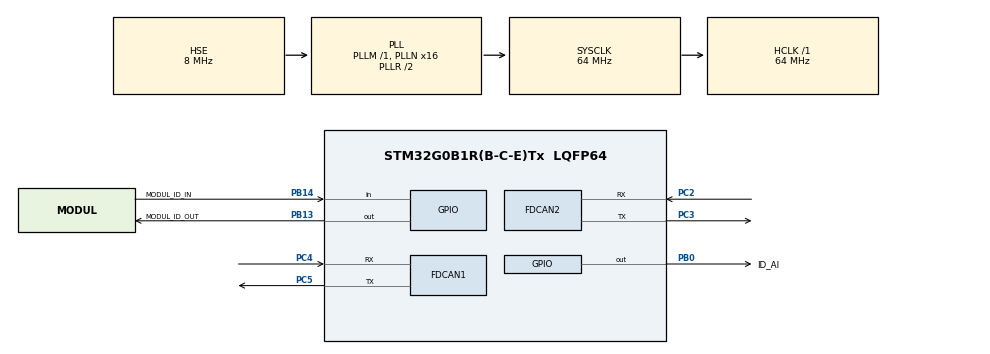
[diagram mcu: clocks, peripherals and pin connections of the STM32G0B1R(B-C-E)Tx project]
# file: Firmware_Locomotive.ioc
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FDCAN1.AutoRetransmission=ENABLE
FDCAN1.CalculateBaudRateNominal=50000
FDCAN1.CalculateTimeBitNominal=20000
FDCAN1.CalculateTimeQuantumNominal=2500.0
FDCAN1.NominalPrescaler=160
FDCAN1.NominalTimeSeg1=5
FDCAN1.NominalTimeSeg2=2
FDCAN2.AutoRetransmission=ENABLE
FDCAN2.CalculateBaudRateNominal=50000
FDCAN2.CalculateTimeBitNominal=20000
FDCAN2.CalculateTimeQuantumNominal=2500.0
FDCAN2.NominalPrescaler=160
FDCAN2.NominalTimeSeg1=5
FDCAN2.NominalTimeSeg2=2
Mcu.Family=STM32G0
Mcu.Name=STM32G0B1R(B-C-E)Tx
Mcu.Package=LQFP64
NVIC.TIM16_FDCAN_IT0_IRQn=true\:0\:0\:false\:false\:true\:true\:true\:true
NVIC.TIM17_FDCAN_IT1_IRQn=true\:0\:0\:false\:false\:true\:true\:true\:true
PA13.Mode=Serial_Wire
PA13.Signal=SYS_SWDIO
PA14-BOOT0.Mode=Serial_Wire
PA14-BOOT0.Signal=SYS_SWCLK
PB0.GPIO_Label=ID_AI
PB0.Signal=GPIO_Output
PB13.GPIO_Label=MODUL_ID_OUT
PB13.Signal=GPIO_Output
PB14.GPIO_Label=MODUL_ID_IN
PB14.Signal=GPIO_Input
PC2.GPIO_Speed=GPIO_SPEED_FREQ_VERY_HIGH
PC2.Mode=FDCAN_Activate
PC2.Signal=FDCAN2_RX
PC3.GPIO_Speed=GPIO_SPEED_FREQ_VERY_HIGH
PC3.Mode=FDCAN_Activate
PC3.Signal=FDCAN2_TX
PC4.GPIO_Speed=GPIO_SPEED_FREQ_VERY_HIGH
PC4.Mode=FDCAN_Activate
PC4.PinState=GPIO_PIN_RESET
PC4.Signal=FDCAN1_RX
PC5.GPIO_Speed=GPIO_SPEED_FREQ_VERY_HIGH
PC5.Mode=FDCAN_Activate
PC5.Signal=FDCAN1_TX
PF0-OSC_IN\ (PF0).Mode=HSE-External-Oscillator
PF0-OSC_IN\ (PF0).Signal=RCC_OSC_IN
PF1-OSC_OUT\ (PF1).Mode=HSE-External-Oscillator
PF1-OSC_OUT\ (PF1).Signal=RCC_OSC_OUT
ProjectManager.HeapSize=0x200
ProjectManager.StackSize=0x400
ProjectManager.TargetToolchain=STM32CubeIDE
RCC.ADCFreq_Value=64000000
RCC.AHBFreq_Value=64000000
RCC.CortexFreq_Value=64000000
RCC.EXTERNAL_CLOCK_VALUE=48000
RCC.HCLKFreq_Value=64000000
RCC.HSE_VALUE=8000000
RCC.HSI48_VALUE=48000000
RCC.HSI_VALUE=16000000
RCC.LSE_VALUE=32768
RCC.PLLN=16
RCC.PLLSourceVirtual=RCC_PLLSOURCE_HSE
RCC.SYSCLKFreq_VALUE=64000000
RCC.SYSCLKSource=RCC_SYSCLKSOURCE_PLLCLK
RCC.USBFreq_Value=48000000
RCC.VCOOutputFreq_Value=128000000
VP_SYS_VS_DBSignals.Mode=DisableDeadBatterySignals
board=custom

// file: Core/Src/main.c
/* USER CODE BEGIN Header */
/**
  ******************************************************************************
  * @file           : main.c
  * @brief          : Main program body
  ******************************************************************************
  * @attention
  *
  * Copyright (c) 2026 STMicroelectronics.
  * All rights reserved.
  *
  * This software is licensed under terms that can be found in the LICENSE file
  * in the root directory of this software component.
  * If no LICENSE file comes with this software, it is provided AS-IS.
  *
  ******************************************************************************
  */
/* USER CODE END Header */
#include "main.h"
#include "fdcan.h"
#include "gpio.h"

/* USER CODE BEGIN Includes */
#include <stdlib.h>
#include <string.h>
#include "hvac_can.h"
/* USER CODE END Includes */

/* USER CODE BEGIN PV */
extern FDCAN_HandleTypeDef hfdcan1;
extern FDCAN_HandleTypeDef hfdcan2;
FDCAN_TxHeaderTypeDef TxHeader;
uint8_t TxData[8];

uint32_t node_ids[3] = {0xFFFFFFFF, 0xFFFFFFFF, 0xFFFFFFFF}; // 0xFFFFFFFF = Lost/Error
uint32_t node_last_seen[3] = {0, 0, 0};
uint32_t loco_tx_count = 0;
uint16_t node_errors[3] = {0, 0, 0};
uint32_t loco_hw_errors = 0;
/* USER CODE END PV */

void SystemClock_Config(void);

/* USER CODE BEGIN 0 */
/* Queues a frame from thread context; the RX interrupt also writes to the TX FIFO. */
static void CAN_SendFromMain(FDCAN_HandleTypeDef *hfdcan, FDCAN_TxHeaderTypeDef *hdr, uint8_t *data)
{
  uint32_t primask = __get_PRIMASK();
  __disable_irq();
  HAL_FDCAN_AddMessageToTxFifoQ(hfdcan, hdr, data);
  __set_PRIMASK(primask);
}
/* USER CODE END 0 */

int main(void)
{

  /* MCU Configuration--------------------------------------------------------*/

  /* Reset of all peripherals, Initializes the Flash interface and the Systick. */
  HAL_Init();

  /* Configure the system clock */
  SystemClock_Config();

  /* Initialize all configured peripherals */
  MX_GPIO_Init();
  MX_FDCAN1_Init();
  MX_FDCAN2_Init();
  /* USER CODE BEGIN 2 */
  TxHeader.Identifier = 0x111;
  TxHeader.IdType = FDCAN_STANDARD_ID;
  TxHeader.TxFrameType = FDCAN_DATA_FRAME;
  TxHeader.DataLength = FDCAN_DLC_BYTES_3;
  TxHeader.ErrorStateIndicator = FDCAN_ESI_ACTIVE;
  TxHeader.BitRateSwitch = FDCAN_BRS_OFF;
  TxHeader.FDFormat = FDCAN_CLASSIC_CAN;
  TxHeader.TxEventFifoControl = FDCAN_NO_TX_EVENTS;
  TxHeader.MessageMarker = 0;

  FDCAN_FilterTypeDef sFilterConfig;
  sFilterConfig.IdType = FDCAN_STANDARD_ID;
  sFilterConfig.FilterIndex = 0;
  sFilterConfig.FilterType = FDCAN_FILTER_MASK;
  sFilterConfig.FilterConfig = FDCAN_FILTER_TO_RXFIFO0;
  sFilterConfig.FilterID1 = 0x000;
  sFilterConfig.FilterID2 = 0x000;
  HAL_FDCAN_ConfigFilter(&hfdcan2, &sFilterConfig);
  HAL_FDCAN_ConfigGlobalFilter(&hfdcan2, FDCAN_ACCEPT_IN_RX_FIFO0, FDCAN_ACCEPT_IN_RX_FIFO0, FDCAN_REJECT_REMOTE, FDCAN_REJECT_REMOTE);
  HAL_FDCAN_ActivateNotification(&hfdcan2, FDCAN_IT_RX_FIFO0_NEW_MESSAGE, 0);

  HAL_FDCAN_Start(&hfdcan2);

  HAL_FDCAN_ConfigFilter(&hfdcan1, &sFilterConfig);
  HAL_FDCAN_ConfigGlobalFilter(&hfdcan1, FDCAN_ACCEPT_IN_RX_FIFO0, FDCAN_ACCEPT_IN_RX_FIFO0, FDCAN_REJECT_REMOTE, FDCAN_REJECT_REMOTE);
  HAL_FDCAN_ActivateNotification(&hfdcan1, FDCAN_IT_RX_FIFO0_NEW_MESSAGE, 0);
  HAL_FDCAN_Start(&hfdcan1);
  /* USER CODE END 2 */

  /* Infinite loop */
  /* USER CODE BEGIN WHILE */
  extern volatile uint32_t analog_rx_tick;
  uint32_t last_no_link = 0;
  while (1)
  {
    if (hfdcan2.Instance->PSR & FDCAN_PSR_BO) {
        HAL_FDCAN_Stop(&hfdcan2);
        HAL_FDCAN_Start(&hfdcan2);
    }
    if (hfdcan1.Instance->PSR & FDCAN_PSR_BO) {
        HAL_FDCAN_Stop(&hfdcan1);
        HAL_FDCAN_Start(&hfdcan1);
    }

    uint32_t now = HAL_GetTick();
    if (now - analog_rx_tick > HVAC_AI_LINK_TIMEOUT_MS && now - last_no_link >= HVAC_AI_NO_LINK_PERIOD_MS) {
        last_no_link = now;
        HvacAiMeas lost = { .status = HVAC_AI_ST_NO_LINK };
        uint8_t err_data[8];
        hvac_can_ai_encode(&lost, err_data);

        FDCAN_TxHeaderTypeDef errHeader;
        errHeader.Identifier = HVAC_CAN_ID_AI_MEAS;
        errHeader.IdType = FDCAN_STANDARD_ID;
        errHeader.TxFrameType = FDCAN_DATA_FRAME;
        errHeader.DataLength = FDCAN_DLC_BYTES_8;
        errHeader.ErrorStateIndicator = FDCAN_ESI_ACTIVE;
        errHeader.BitRateSwitch = FDCAN_BRS_OFF;
        errHeader.FDFormat = FDCAN_CLASSIC_CAN;
        errHeader.TxEventFifoControl = FDCAN_NO_TX_EVENTS;
        errHeader.MessageMarker = 0;

        CAN_SendFromMain(&hfdcan2, &errHeader, err_data);
    }
    /* USER CODE END WHILE */

  }
}

void SystemClock_Config(void)
{
  RCC_OscInitTypeDef RCC_OscInitStruct = {0};
  RCC_ClkInitTypeDef RCC_ClkInitStruct = {0};

  /** Configure the main internal regulator output voltage
  */
  HAL_PWREx_ControlVoltageScaling(PWR_REGULATOR_VOLTAGE_SCALE1);

  /** Initializes the RCC Oscillators according to the specified parameters
  * in the RCC_OscInitTypeDef structure.
  */
  RCC_OscInitStruct.OscillatorType = RCC_OSCILLATORTYPE_HSE;
  RCC_OscInitStruct.HSEState = RCC_HSE_ON;
  RCC_OscInitStruct.PLL.PLLState = RCC_PLL_ON;
  RCC_OscInitStruct.PLL.PLLSource = RCC_PLLSOURCE_HSE;
  RCC_OscInitStruct.PLL.PLLM = RCC_PLLM_DIV1;
  RCC_OscInitStruct.PLL.PLLN = 16;
  RCC_OscInitStruct.PLL.PLLP = RCC_PLLP_DIV2;
  RCC_OscInitStruct.PLL.PLLQ = RCC_PLLQ_DIV2;
  RCC_OscInitStruct.PLL.PLLR = RCC_PLLR_DIV2;
  if (HAL_RCC_OscConfig(&RCC_OscInitStruct) != HAL_OK)
  {
    Error_Handler();
  }

  /** Initializes the CPU, AHB and APB buses clocks
  */
  RCC_ClkInitStruct.ClockType = RCC_CLOCKTYPE_HCLK|RCC_CLOCKTYPE_SYSCLK
                              |RCC_CLOCKTYPE_PCLK1;
  RCC_ClkInitStruct.SYSCLKSource = RCC_SYSCLKSOURCE_PLLCLK;
  RCC_ClkInitStruct.AHBCLKDivider = RCC_SYSCLK_DIV1;
  RCC_ClkInitStruct.APB1CLKDivider = RCC_HCLK_DIV1;

  if (HAL_RCC_ClockConfig(&RCC_ClkInitStruct, FLASH_LATENCY_2) != HAL_OK)
  {
    Error_Handler();
  }
}

/* USER CODE BEGIN 4 */
volatile uint32_t analog_rx_tick = 0;

void HAL_FDCAN_RxFifo0Callback(FDCAN_HandleTypeDef *hfdcan, uint32_t RxFifo0ITs)
{
  if ((RxFifo0ITs & FDCAN_IT_RX_FIFO0_NEW_MESSAGE) != RESET)
  {
    FDCAN_RxHeaderTypeDef RxHeader;
    uint8_t RxData[64];
    if (HAL_FDCAN_GetRxMessage(hfdcan, FDCAN_RX_FIFO0, &RxHeader, RxData) == HAL_OK)
    {
      if (hfdcan == &hfdcan1 && RxHeader.Identifier == HVAC_CAN_ID_AI_MEAS)
      {
        analog_rx_tick = HAL_GetTick();

        FDCAN_TxHeaderTypeDef fwdHeader;
        fwdHeader.Identifier = HVAC_CAN_ID_AI_MEAS;
        fwdHeader.IdType = FDCAN_STANDARD_ID;
        fwdHeader.TxFrameType = FDCAN_DATA_FRAME;
        fwdHeader.DataLength = RxHeader.DataLength; // Expecting FDCAN_DLC_BYTES_8
        fwdHeader.ErrorStateIndicator = FDCAN_ESI_ACTIVE;
        fwdHeader.BitRateSwitch = FDCAN_BRS_OFF;
        fwdHeader.FDFormat = FDCAN_CLASSIC_CAN;
        fwdHeader.TxEventFifoControl = FDCAN_NO_TX_EVENTS;
        fwdHeader.MessageMarker = 0;

        HAL_FDCAN_AddMessageToTxFifoQ(&hfdcan2, &fwdHeader, RxData);
      }
      else if (RxHeader.Identifier >= 0x211 && RxHeader.Identifier <= 0x213)
      {
        uint8_t index = RxHeader.Identifier - 0x211;
        uint32_t uid = RxData[0] | (RxData[1] << 8) | (RxData[2] << 16) | (RxData[3] << 24);
        node_ids[index] = uid;
        node_last_seen[index] = HAL_GetTick();
      }
    }
  }
}
/* USER CODE END 4 */

void Error_Handler(void)
{
  __disable_irq();
  while (1)
  {
  }
}
